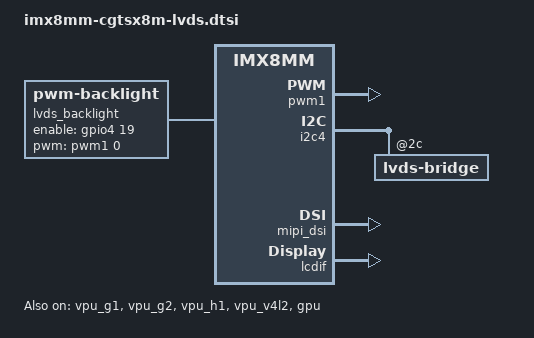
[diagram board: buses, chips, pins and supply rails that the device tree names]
// SPDX-License-Identifier: (GPL-2.0+ OR MIT)
/*
 * Copyright (C) 2025 congatec GmbH
 * Author: Lukas Posadka <lukas.posadka@congatec.com>
 */

/dts-v1/;

#include "imx8mm-cgtsx8m.dts"

/ {
	lvds_backlight: lvds_backlight {
		compatible = "pwm-backlight";
		pinctrl-names = "default";
		pinctrl-0 = <&pinctrl_backlight>;
		enable-gpios =  <&gpio4 19 GPIO_ACTIVE_HIGH>; /* LFP0_BKL_EN */
		pwms = <&pwm1 0 100000 0>;
		post-pwm-on-delay-ms = <400>;
		pwm-off-delay-ms = <200>;

		status = "okay";

		brightness-levels = < 0  1  2  3  4  5  6  7  8  9
			10 11 12 13 14 15 16 17 18 19
			20 21 22 23 24 25 26 27 28 29
			30 31 32 33 34 35 36 37 38 39
			40 41 42 43 44 45 46 47 48 49
			50 51 52 53 54 55 56 57 58 59
			60 61 62 63 64 65 66 67 68 69
			70 71 72 73 74 75 76 77 78 79
			80 81 82 83 84 85 86 87 88 89
			90 91 92 93 94 95 96 97 98 99
			100>;
		default-brightness-level = <60>;
	};

	panel-lvds {
		backlight = <&lvds_backlight>;
		
		status = "okay";
	};
};

&pwm1 { /* LVDS0 backlight */
	pinctrl-names = "default";
	pinctrl-0 = <&pinctrl_pwm1>;
	status = "okay";
};

&i2c4 {
	lvds-bridge@2c {
		status = "okay";
	};
};

&mipi_dsi {
	status = "okay";
};

&lcdif {
	status = "okay";
};

&vpu_g1 {
	status = "okay";
};

&vpu_g2 {
	status = "okay";
};

&vpu_h1 {
	status = "okay";
};

&vpu_v4l2 {
	status = "okay";
};

&gpu {
	status = "okay";
};

&iomuxc {
	pinctrl_backlight: lvdsbacklight {
		fsl,pins = <
			MX8MM_IOMUXC_SAI1_TXD7_GPIO4_IO19       0x100
		>;
	};

	pinctrl_pwm1: pwm1grp {
		fsl,pins = <
			MX8MM_IOMUXC_GPIO1_IO01_PWM1_OUT        0x110
		>;
	};
};

